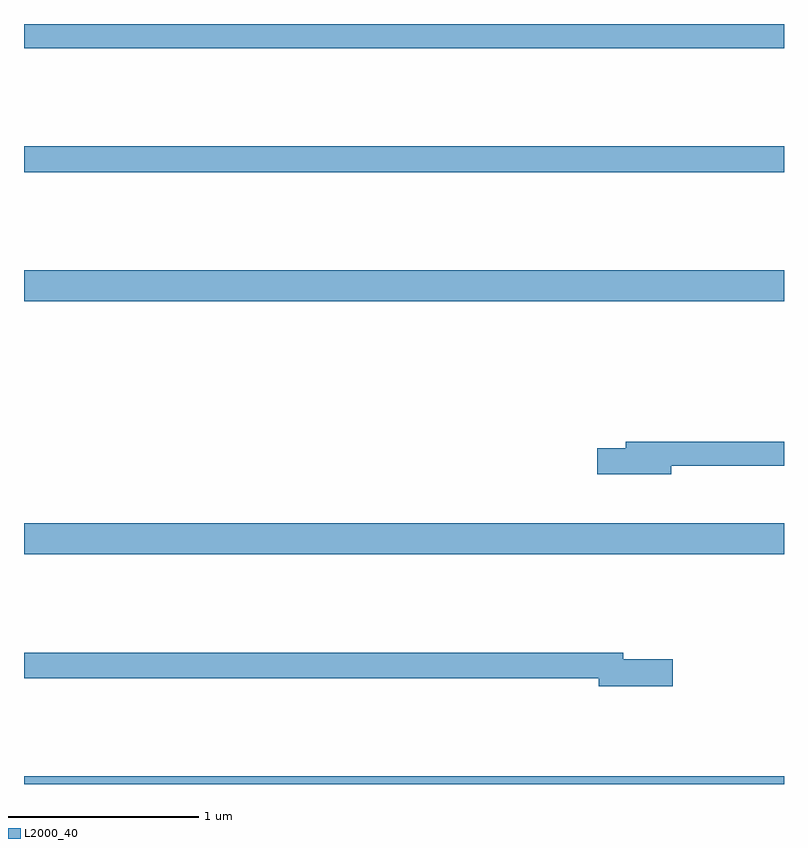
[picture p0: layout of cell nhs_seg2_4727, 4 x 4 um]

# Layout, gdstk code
import gdstk
lib = gdstk.Library(unit=1e-6, precision=1e-09)
def R(c, l, rs):  # rectangles x0, y0, x1, y1
    for r in rs: c.add(gdstk.rectangle(r[:2], r[2:], *l))
def P(c, l, *ps):  # polygons
    for p in ps: c.add(gdstk.Polygon(p, *l))
L2000_40 = (2000, 40)

nhs_seg2_4727 = lib.new_cell('nhs_seg2_4727')
R(nhs_seg2_4727, L2000_40, [(369,607.8,373,607.84), (369,609.008,373,609.172), (369,610.34,373,610.504), (369,611.02,373,611.156), (369,611.672,373,611.8)])
P(nhs_seg2_4727, L2000_40, [(372.406,609.474),(373,609.474),(373,609.602),(372.167,609.602),(372.167,609.566),(372.018,609.566),(372.018,609.431),(372.406,609.431)],
  [(372.415,608.456),(372.154,608.456),(372.154,608.492),(369,608.492),(369,608.356),(372.026,608.356),(372.026,608.314),(372.415,608.314)])

lib.write_gds('nhs_seg2_4727.gds')
